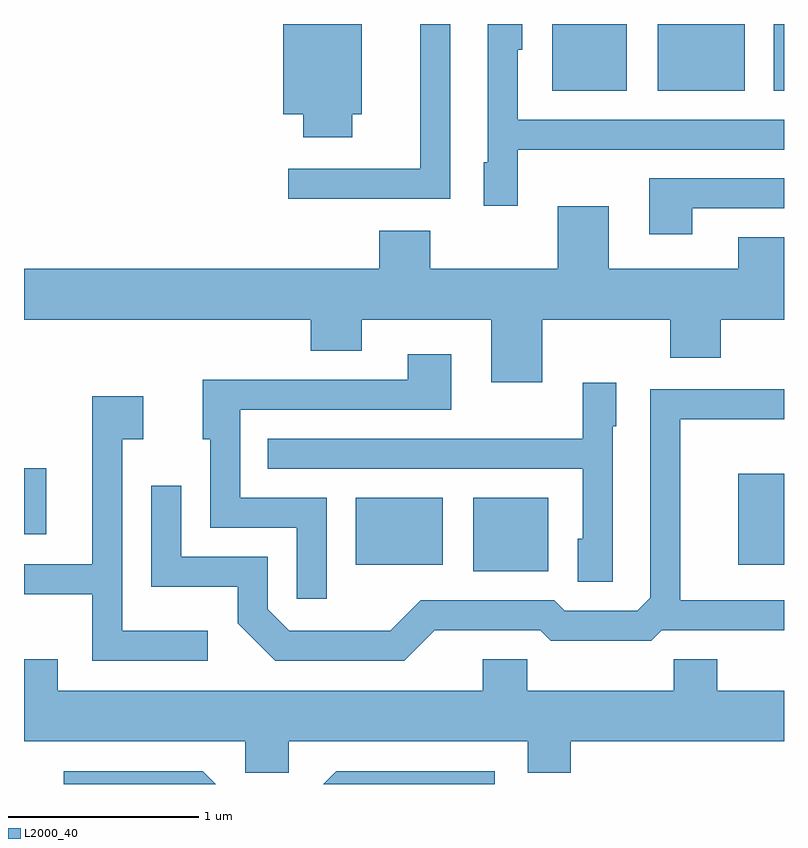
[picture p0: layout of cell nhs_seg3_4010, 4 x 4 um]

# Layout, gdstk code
import gdstk
lib = gdstk.Library(unit=1e-6, precision=1e-09)
def R(c, l, rs):  # rectangles x0, y0, x1, y1
    for r in rs: c.add(gdstk.rectangle(r[:2], r[2:], *l))
def P(c, l, *ps):  # polygons
    for p in ps: c.add(gdstk.Polygon(p, *l))
L2000_40 = (2000, 40)

nhs_seg3_4010 = lib.new_cell('nhs_seg3_4010')
R(nhs_seg3_4010, L2000_40, [(303.976,1249.011,304.369,1249.399), (303.356,1249.046,303.814,1249.399), (305.371,1249.046,305.611,1249.524), (301.611,1249.206,301.729,1249.554), (304.391,1251.541,304.784,1251.892), (304.946,1251.541,305.404,1251.892), (305.556,1251.541,305.611,1251.892)])
P(nhs_seg3_4010, L2000_40, [(303.339,1251.416),(303.389,1251.416),(303.389,1251.892),(302.976,1251.892),(302.976,1251.416),(303.081,1251.416),(303.081,1251.296),(303.339,1251.296)],
  [(304.209,1251.231),(305.611,1251.231),(305.611,1251.389),(304.209,1251.389),(304.209,1251.756),(304.234,1251.756),(304.234,1251.892),(304.051,1251.892),(304.051,1251.164),(304.031,1251.164),(304.031,1250.936),(304.209,1250.936)],
  [(303.854,1251.892),(303.696,1251.892),(303.696,1251.129),(303.003,1251.129),(303.003,1250.971),(303.854,1250.971)],
  [(305.129,1250.921),(305.611,1250.921),(305.611,1251.079),(304.901,1251.079),(304.901,1250.786),(305.129,1250.786)],
  [(304.339,1250.336),(305.011,1250.336),(305.011,1250.136),(305.279,1250.136),(305.279,1250.336),(305.611,1250.336),(305.611,1250.769),(305.371,1250.769),(305.371,1250.604),(304.689,1250.604),(304.689,1250.934),(304.421,1250.934),(304.421,1250.604),(303.749,1250.604),(303.749,1250.804),(303.481,1250.804),(303.481,1250.604),(301.611,1250.604),(301.611,1250.336),(303.121,1250.336),(303.121,1250.171),(303.389,1250.171),(303.389,1250.336),(304.071,1250.336),(304.071,1250.006),(304.339,1250.006)],
  [(303.204,1249.399),(302.749,1249.399),(302.749,1249.861),(303.859,1249.861),(303.859,1250.154),(303.631,1250.154),(303.631,1250.019),(302.551,1250.019),(302.551,1249.706),(302.591,1249.706),(302.591,1249.241),(303.046,1249.241),(303.046,1248.868),(303.204,1248.868)],
  [(304.709,1249.776),(304.729,1249.776),(304.729,1250.004),(304.551,1250.004),(304.551,1249.709),(302.893,1249.709),(302.893,1249.551),(304.551,1249.551),(304.551,1249.184),(304.526,1249.184),(304.526,1248.956),(304.709,1248.956)],
  [(303.772,1248.701),(304.329,1248.701),(304.384,1248.646),(304.912,1248.646),(304.967,1248.701),(305.611,1248.701),(305.611,1248.859),(305.064,1248.859),(305.064,1249.811),(305.611,1249.811),(305.611,1249.969),(304.906,1249.969),(304.906,1248.872),(304.839,1248.804),(304.457,1248.804),(304.402,1248.859),(303.699,1248.859),(303.539,1248.699),(303.007,1248.699),(302.894,1248.812),(302.894,1249.089),(302.439,1249.089),(302.439,1249.463),(302.281,1249.463),(302.281,1248.931),(302.736,1248.931),(302.736,1248.739),(302.934,1248.541),(303.612,1248.541)],
  [(302.578,1248.699),(302.129,1248.699),(302.129,1249.706),(302.239,1249.706),(302.239,1249.934),(301.971,1249.934),(301.971,1249.049),(301.611,1249.049),(301.611,1248.891),(301.971,1248.891),(301.971,1248.541),(302.578,1248.541)],
  [(303.004,1248.116),(304.261,1248.116),(304.261,1247.951),(304.489,1247.951),(304.489,1248.116),(305.611,1248.116),(305.611,1248.384),(305.259,1248.384),(305.259,1248.549),(305.031,1248.549),(305.031,1248.384),(304.259,1248.384),(304.259,1248.549),(304.026,1248.549),(304.026,1248.384),(301.789,1248.384),(301.789,1248.549),(301.611,1248.549),(301.611,1248.116),(302.776,1248.116),(302.776,1247.951),(303.004,1247.951)],
  [(302.552,1247.959),(301.821,1247.959),(301.821,1247.892),(302.619,1247.892)],
  [(304.089,1247.959),(303.254,1247.959),(303.187,1247.892),(304.089,1247.892)])

lib.write_gds('nhs_seg3_4010.gds')
